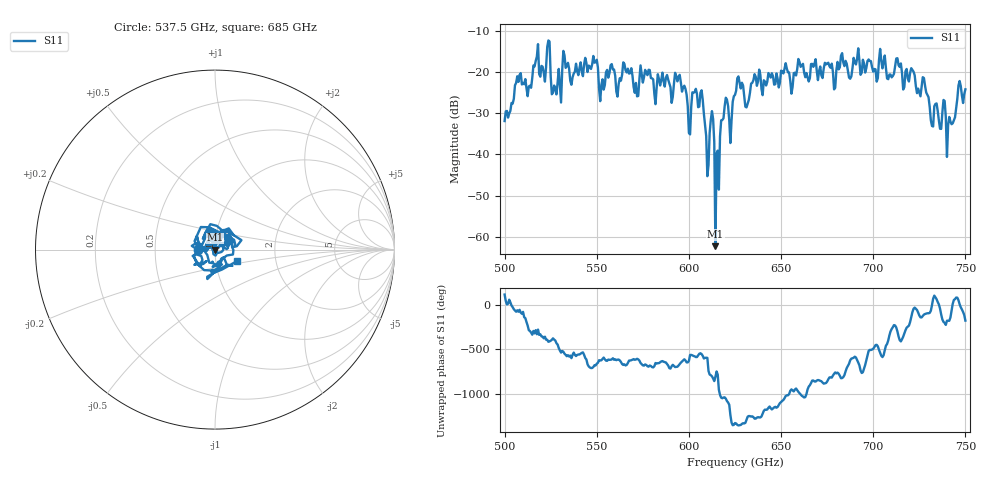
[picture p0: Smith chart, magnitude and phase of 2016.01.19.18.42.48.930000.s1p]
!Created with skrf (http://scikit-rf.org).
# GHz S RI R 50.0
!freq ReS11 ImS11
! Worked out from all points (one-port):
!   401 points, 500 GHz to 750 GHz, reference 50 ohm
!   lowest |S11| = -62.3 dB at 614.4 GHz (marker M1), VSWR 1.00, Z = 50 - j0.077 ohm
!   |S11| at or under -10 dB: start of sweep to end of sweep
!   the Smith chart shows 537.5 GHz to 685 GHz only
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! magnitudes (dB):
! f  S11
! 500 GHz  -31.9
! 507.5 GHz  -22.4
! 513.8 GHz  -23.3
! 516.9 GHz  -17.3
! 523.8 GHz  -12.3
! 526.9 GHz  -23.3
! 531.2 GHz  -19.6
! 548.8 GHz  -17.7
! 552.5 GHz  -23.1
! 558.1 GHz  -18.1
! 562.5 GHz  -21.5
! 593.8 GHz  -22.3
! 600 GHz  -34.8
! 603.1 GHz  -24.9
! 606.9 GHz  -24.4
! 609.4 GHz  -35.6
! 612.5 GHz  -29.5
! 614.4 GHz  -62.3
! 615.6 GHz  -39.1
! 618.8 GHz  -31.2
! 623.1 GHz  -31.8
! 625 GHz  -25.5
! 656.2 GHz  -23.6
! 660.6 GHz  -18.7
! 687.5 GHz  -21.6
! 718.8 GHz  -21.6
! 741.2 GHz  -30.9
! 750 GHz  -24.2
